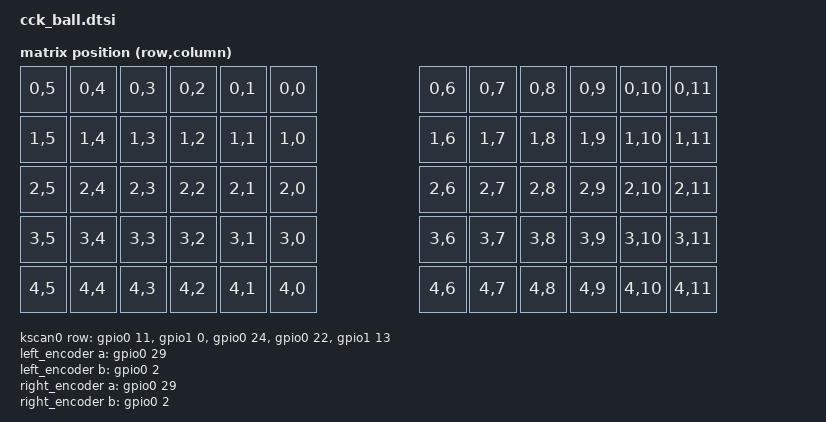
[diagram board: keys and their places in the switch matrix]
#include <dt-bindings/zmk/matrix_transform.h>
#include <dt-bindings/led/led.h>
#include "cck_ball-layouts.dtsi"

/ {
    chosen {
        zmk,kscan = &kscan0;
        zmk,physical-layouts = &cck_ball_layouts;
    };

    default_transform: keymap_transform_0 {
		compatible = "zmk,matrix-transform";
        columns = <12>;
        rows = <5>;

        map = <
			  RC(0,5) RC(0,4) RC(0,3) RC(0,2) RC(0,1) RC(0,0)                   RC(0,6) RC(0,7) RC(0,8) RC(0,9) RC(0,10) RC(0,11)
			  RC(1,5) RC(1,4) RC(1,3) RC(1,2) RC(1,1) RC(1,0)                   RC(1,6) RC(1,7) RC(1,8) RC(1,9) RC(1,10) RC(1,11)
			  RC(2,5) RC(2,4) RC(2,3) RC(2,2) RC(2,1) RC(2,0)                   RC(2,6) RC(2,7) RC(2,8) RC(2,9) RC(2,10) RC(2,11)
			  RC(3,5) RC(3,4) RC(3,3) RC(3,2) RC(3,1) RC(3,0)                   RC(3,6) RC(3,7) RC(3,8) RC(3,9) RC(3,10) RC(3,11)
			  RC(4,5) RC(4,4) RC(4,3) RC(4,2) RC(4,1) RC(4,0)                   RC(4,6) RC(4,7) RC(4,8) RC(4,9) RC(4,10) RC(4,11) 
        >;
    };

    
	
    kscan0: kscan {
        compatible = "zmk,kscan-gpio-matrix";
        label = "KSCAN";

        diode-direction = "col2row";
		row-gpios
            = <&gpio0 11 (GPIO_ACTIVE_HIGH | GPIO_PULL_DOWN)>
            , <&gpio1  0 (GPIO_ACTIVE_HIGH | GPIO_PULL_DOWN)>
            , <&gpio0 24 (GPIO_ACTIVE_HIGH | GPIO_PULL_DOWN)>
	        , <&gpio0 22 (GPIO_ACTIVE_HIGH | GPIO_PULL_DOWN)>
	        , <&gpio1 13 (GPIO_ACTIVE_HIGH | GPIO_PULL_DOWN)>
            ;

    
	 /* encoders */
	left_encoder: encoder_left {
		compatible = "alps,ec11";
    status = "disabled";
		label = "LEFT_ENCODER";
		a-gpios = <&gpio0 29 (GPIO_ACTIVE_HIGH | GPIO_PULL_UP)>;
		b-gpios = <&gpio0 2 (GPIO_ACTIVE_HIGH | GPIO_PULL_UP)>;
		/* 转一圈 24 格，每格 2 个电信号跳变（A/B 各一次边沿）。
		 *
		 * pulses-per-detent = 2：凑够 2 个跳变才算一格 —— 转一格恰好出 1 次，
		 *   这样「转一格 = 音量 +1 步」是精确的。
		 *   （设成 1 会让每格出 2 次，快是快，但单格次数翻倍，无法精确调节）
		 *
		 * filter-jump-compensate = 1：A/B 两次采样之间同时变化（2 步跳变、
		 *   方向无法从状态判断）时，按上一次的方向补两格。开着是为了不丢格。
		 *   风险：刚反向时「上一次的方向」还是旧方向，会把这一格补成反方向，
		 *   表现为「向下滚却向上」。
		 *
		 * filter-codir-guard-us = 10000：给上面那个补偿加时间门槛 ——
		 *   距上次出格不足 10ms 时一律不补偿（不猜方向）。慢速转动每格远超
		 *   10ms，补偿正常工作、方向也准；快速甩动时自动放弃猜测，宁可少滚
		 *   也不反向。（驱动默认 3000us，太短，快速转动一样会猜）
		 */
		steps = <24>;
		pulses-per-detent = <2>;
		filter-jump-compensate = <1>;
		filter-codir-guard-us = <10000>;
	};

	right_encoder: encoder_right {
		compatible = "alps,ec11";
    status = "disabled";
		label = "RIGHT_ENCODER";
		a-gpios = <&gpio0 29 (GPIO_ACTIVE_HIGH | GPIO_PULL_UP)>;
		b-gpios = <&gpio0 2 (GPIO_ACTIVE_HIGH | GPIO_PULL_UP)>;
		/* 同上，左右手策略保持一致 */
		steps = <24>;
		pulses-per-detent = <2>;
		filter-jump-compensate = <1>;
		filter-codir-guard-us = <10000>;
	};

	sensors {
		compatible = "zmk,keymap-sensors";
		sensors = <&left_encoder &right_encoder>;
		triggers-per-rotation = <24>;   /* 与上面 steps 保持一致 */
	};

    };

};

